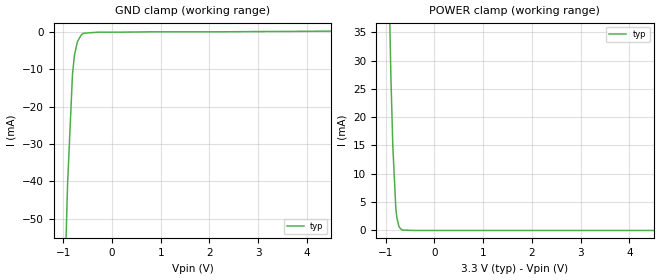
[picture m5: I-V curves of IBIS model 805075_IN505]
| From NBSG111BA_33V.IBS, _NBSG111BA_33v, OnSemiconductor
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| COPYRIGHT(C) MENTOR GRAPHICS CORPORATION 2001 ALL
| RIGHTS RESERVED. THIS WORK CONTAINS PROPRIETARY
| INFORMATION WHICH IS THE PROPERTY OF MENTOR GRAPHICS
| CORPORATION OR ITS LICENSORS. USE OF THESE MATERIALS
| IS SUBJECT TO THE TERMS BELOW.
| USE: YOU MAY USE IBIS MODELS SOLELY FOR DEVELOPING
| PRINTED CIRCUIT BOARD DESIGNS. NO OTHER USE OR
| DISTRIBUTION OF THESE MATERIALS IS PERMITTED.
| Model Application Version 1.89 2/18/99.
[Model] 805075_IN505
Model_type Input
Vinl = 800.0mV
Vinh = 2.000V
C_comp 500.0fF NA NA
| variable typ   min   max
[Voltage Range] 3.300V NA NA
[GND Clamp Reference] 0.000V NA NA
[POWER Clamp Reference] 3.300V NA NA
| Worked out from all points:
|   GND clamp passes 1 mA (typ) near -0.64 V on its own axis
|   POWER clamp passes 1 mA (typ) near -0.74 V on its own axis
[GND Clamp]
-3.3V     -1.354A    NA         NA
-1.034V   -98.6mA    NA         NA
-912mV    -40.9mA    NA         NA
-811mV    -11.4mA    NA         NA
-770mV    -6.2mA     NA         NA
-709mV    -2.6mA     NA         NA
-628mV    -800uA     NA         NA
-588mV    -400uA     NA         NA
-294mV    -100uA     NA         NA
6.6V      342.9uA    NA         NA
[POWER Clamp]
-3.3V     1.273A     NA         NA
-1.037V   87.83mA    NA         NA
-895mV    27.14mA    NA         NA
-855mV    14.84mA    NA         NA
-794mV    3.949mA    NA         NA
-774mV    2.35mA     NA         NA
-733mV    753.5uA    NA         NA
-693mV    256.5uA    NA         NA
-652.5mV  62.74uA    NA         NA
-612mV    62.74uA    NA         NA
-408mV    0A         NA         NA
6.6V      0A         NA         NA
